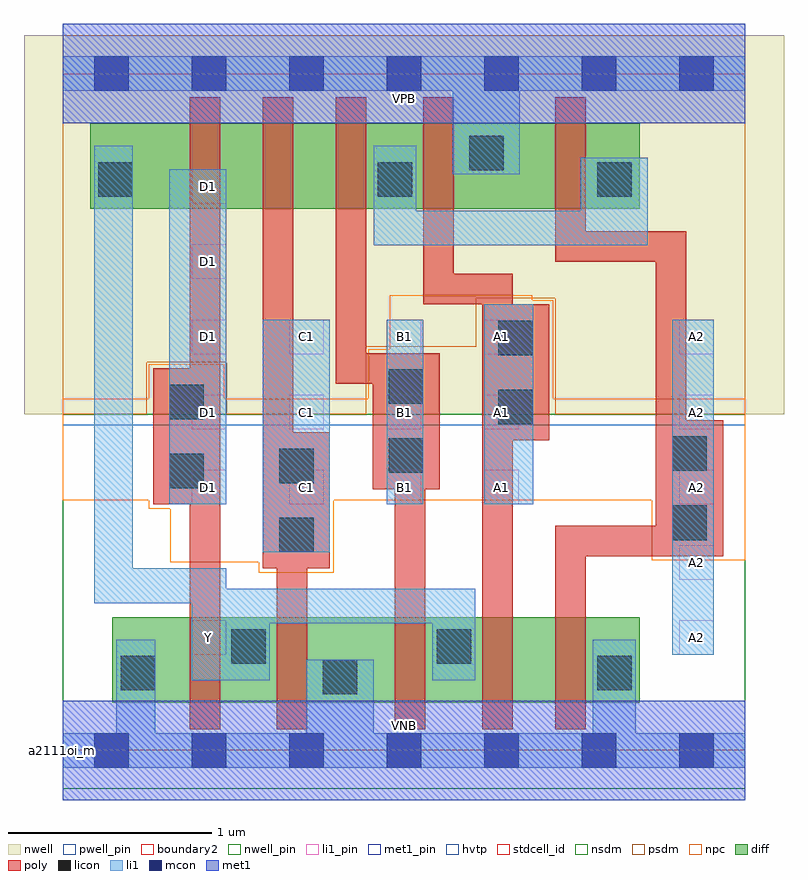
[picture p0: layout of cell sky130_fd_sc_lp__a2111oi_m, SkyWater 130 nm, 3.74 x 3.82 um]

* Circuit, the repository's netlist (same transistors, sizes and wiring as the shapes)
* Copyright 2020 The SkyWater PDK Authors
*
* Licensed under the Apache License, Version 2.0 (the "License");
* you may not use this file except in compliance with the License.
* You may obtain a copy of the License at
*
*     https://www.apache.org/licenses/LICENSE-2.0
*
* Unless required by applicable law or agreed to in writing, software
* distributed under the License is distributed on an "AS IS" BASIS,
* WITHOUT WARRANTIES OR CONDITIONS OF ANY KIND, either express or implied.
* See the License for the specific language governing permissions and
* limitations under the License.
*
* SPDX-License-Identifier: Apache-2.0

.SUBCKT sky130_fd_sc_lp__a2111oi_m A1 A2 B1 C1 D1 VGND VNB VPB VPWR Y
*.PININFO A1:I A2:I B1:I C1:I D1:I VGND:I VNB:I VPB:I VPWR:I Y:O
MMPA0 pndA A1 VPWR VPB sky130_fd_pr__pfet_01v8_hvt m=1 w=0.42U l=0.15U mult=1 sa=0.265
+ sb=0.265 sd=0.28 area=0.063 perim=1.14
MMPA1 pndA A2 VPWR VPB sky130_fd_pr__pfet_01v8_hvt m=1 w=0.42U l=0.15U mult=1 sa=0.265
+ sb=0.265 sd=0.28 area=0.063 perim=1.14
MMPB0 pndB B1 pndA VPB sky130_fd_pr__pfet_01v8_hvt m=1 w=0.42U l=0.15U mult=1 sa=0.265
+ sb=0.265 sd=0.28 area=0.063 perim=1.14
MMPC0 pndC C1 pndB VPB sky130_fd_pr__pfet_01v8_hvt m=1 w=0.42U l=0.15U mult=1 sa=0.265
+ sb=0.265 sd=0.28 area=0.063 perim=1.14
MMPD0 Y D1 pndC VPB sky130_fd_pr__pfet_01v8_hvt m=1 w=0.42U l=0.15U mult=1 sa=0.265
+ sb=0.265 sd=0.28 area=0.063 perim=1.14
MMNA0 Y A1 sndA1 VNB sky130_fd_pr__nfet_01v8 m=1 w=0.42U l=0.15U mult=1 sa=0.265
+ sb=0.265 sd=0.28 area=0.063 perim=1.14
MMNA1 sndA1 A2 VGND VNB sky130_fd_pr__nfet_01v8 m=1 w=0.42U l=0.15U mult=1 sa=0.265
+ sb=0.265 sd=0.28 area=0.063 perim=1.14
MMNB0 Y B1 VGND VNB sky130_fd_pr__nfet_01v8 m=1 w=0.42U l=0.15U mult=1 sa=0.265
+ sb=0.265 sd=0.28 area=0.063 perim=1.14
MMNC0 Y C1 VGND VNB sky130_fd_pr__nfet_01v8 m=1 w=0.42U l=0.15U mult=1 sa=0.265
+ sb=0.265 sd=0.28 area=0.063 perim=1.14
MMND0 Y D1 VGND VNB sky130_fd_pr__nfet_01v8 m=1 w=0.42U l=0.15U mult=1 sa=0.265
+ sb=0.265 sd=0.28 area=0.063 perim=1.14
.ENDS sky130_fd_sc_lp__a2111oi_m

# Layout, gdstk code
import gdstk
lib = gdstk.Library(unit=1e-6, precision=1e-09)
def R(c, l, rs):  # rectangles x0, y0, x1, y1
    for r in rs: c.add(gdstk.rectangle(r[:2], r[2:], *l))
def A(c, l, x, y, w, h, nx, ny, dx, dy):  # array of equal rectangles
    R(c, l, [(x+i*dx, y+j*dy, x+i*dx+w, y+j*dy+h) for i in range(nx) for j in range(ny)])
def P(c, l, *ps):  # polygons
    for p in ps: c.add(gdstk.Polygon(p, *l))
nwell_pin = (64, 16)
nwell = (64, 20)
diff = (65, 20)
poly = (66, 20)
licon = (66, 44)
li1_pin = (67, 16)
li1 = (67, 20)
mcon = (67, 44)
met1_pin = (68, 16)
met1 = (68, 20)
hvtp = (78, 44)
stdcell_id = (81, 4)
nsdm = (93, 44)
psdm = (94, 20)
npc = (95, 20)
pwell_pin = (122, 16)
boundary2 = (236, 0)

sky130_fd_sc_lp__a2111oi = lib.new_cell('sky130_fd_sc_lp__a2111oi_m')
R(sky130_fd_sc_lp__a2111oi, nwell_pin, [(0,3.085,3.36,3.33)])
R(sky130_fd_sc_lp__a2111oi, nwell, [(-0.19,1.655,3.55,3.52)])
R(sky130_fd_sc_lp__a2111oi, diff, [(0.245,0.235,2.84,0.655), (0.135,2.665,2.84,3.085)])
P(sky130_fd_sc_lp__a2111oi, poly, [(0.775,3.215),(0.625,3.215),(0.625,1.88),(0.445,1.88),(0.445,1.21),(0.625,1.21),(0.625,0.105),(0.775,0.105)],
  [(1.315,1.565),(1.135,1.565),(1.135,3.215),(0.985,3.215),(0.985,0.895),(1.055,0.895),(1.055,0.105),(1.205,0.105),(1.205,0.895),(1.315,0.895)],
  [(1.855,1.955),(1.495,1.955),(1.495,3.215),(1.345,3.215),(1.345,1.805),(1.525,1.805),(1.525,1.285),(1.635,1.285),(1.635,0.105),(1.785,0.105),(1.785,1.285),(1.855,1.285)],
  [(2.395,2.195),(2.215,2.195),(2.215,2.345),(1.925,2.345),(1.925,3.215),(1.775,3.215),(1.775,2.195),(2.065,2.195),(2.065,0.105),(2.215,0.105),(2.215,1.525),(2.395,1.525)],
  [(3.25,1.625),(3.07,1.625),(3.07,2.555),(2.575,2.555),(2.575,3.215),(2.425,3.215),(2.425,2.405),(2.92,2.405),(2.92,1.105),(2.425,1.105),(2.425,0.105),(2.575,0.105),(2.575,0.955),(3.25,0.955)])
R(sky130_fd_sc_lp__a2111oi, licon, [(1.28,0.275,1.45,0.445), (0.285,0.295,0.455,0.465), (2.63,0.295,2.8,0.465), (0.83,0.425,1,0.595), (1.84,0.425,2.01,0.595), (1.065,0.975,1.235,1.145), (3,1.035,3.17,1.205), (0.525,1.29,0.695,1.46), (1.065,1.315,1.235,1.485), (1.605,1.365,1.775,1.535), (3,1.375,3.17,1.545), (2.145,1.605,2.315,1.775), (0.525,1.63,0.695,1.8), (1.605,1.705,1.775,1.875), (2.145,1.945,2.315,2.115), (0.175,2.725,0.345,2.895), (1.55,2.725,1.72,2.895), (2.63,2.725,2.8,2.895), (2,2.855,2.17,3.025)])
A(sky130_fd_sc_lp__a2111oi, li1_pin, 3.035, 0.47, 0.17, 0.17, 1, 5, 0, 0.37)
A(sky130_fd_sc_lp__a2111oi, li1_pin, 0.635, 1.21, 0.17, 0.17, 4, 3, 0.48, 0.37)
R(sky130_fd_sc_lp__a2111oi, li1_pin, [(0.635,0.47,0.805,0.64), (0.635,2.32,0.805,2.49), (0.635,2.69,0.805,2.86)])
R(sky130_fd_sc_lp__a2111oi, li1, [(3,0.47,3.205,2.12), (0.985,0.975,1.315,2.12), (0.525,1.21,0.805,2.86), (1.595,1.21,1.775,2.12), (2.075,1.21,2.315,2.195)])
P(sky130_fd_sc_lp__a2111oi, li1, [(1.92,2.835),(1.92,3.245),(0,3.245),(0,3.415),(3.36,3.415),(3.36,3.245),(2.25,3.245),(2.25,2.835)],
  [(2.61,0.085),(2.61,0.545),(2.82,0.545),(2.82,0.085),(3.36,0.085),(3.36,-0.085),(0,-0.085),(0,0.085),(0.265,0.085),(0.265,0.545),(0.455,0.545),(0.455,0.085),(1.2,0.085),(1.2,0.445),(1.53,0.445),(1.53,0.085)],
  [(0.805,0.795),(2.03,0.795),(2.03,0.345),(1.82,0.345),(1.82,0.625),(1.02,0.625),(1.02,0.345),(0.635,0.345),(0.635,0.725),(0.155,0.725),(0.155,2.975),(0.345,2.975),(0.345,0.895),(0.805,0.895)],
  [(2.55,2.655),(2.55,2.915),(2.88,2.915),(2.88,2.485),(1.53,2.485),(1.53,2.975),(1.74,2.975),(1.74,2.655)])
A(sky130_fd_sc_lp__a2111oi, mcon, 0.155, -0.085, 0.17, 0.17, 7, 2, 0.48, 3.33)
R(sky130_fd_sc_lp__a2111oi, met1_pin, [(0,0,3.36,0.245), (0,3.085,3.36,3.33)])
R(sky130_fd_sc_lp__a2111oi, met1, [(0,-0.245,3.36,0.245), (0,3.085,3.36,3.575)])
R(sky130_fd_sc_lp__a2111oi, hvtp, [(0,1.6,3.36,3.33)])
R(sky130_fd_sc_lp__a2111oi, stdcell_id, [(0,0,3.36,3.33)])
R(sky130_fd_sc_lp__a2111oi, nsdm, [(0,-0.19,3.36,1.655)])
P(sky130_fd_sc_lp__a2111oi, psdm, [(3.36,3.52),(0,3.52),(0,1.655),(0.415,1.655),(0.415,1.91),(0.805,1.91),(0.805,1.655),(1.495,1.655),(1.495,1.985),(2.035,1.985),(2.035,2.225),(2.425,2.225),(2.425,1.655),(3.36,1.655)])
P(sky130_fd_sc_lp__a2111oi, npc, [(3.36,1.73),(2.415,1.73),(2.415,2.215),(2.31,2.215),(2.31,2.24),(1.61,2.24),(1.61,1.975),(1.505,1.975),(1.505,1.73),(0.795,1.73),(0.795,1.9),(0.425,1.9),(0.425,1.73),(0,1.73),(0,1.23),(0.425,1.23),(0.425,1.19),(0.53,1.19),(0.53,0.925),(0.965,0.925),(0.965,0.875),(1.335,0.875),(1.335,1.23),(2.9,1.23),(2.9,0.935),(3.36,0.935)])
R(sky130_fd_sc_lp__a2111oi, pwell_pin, [(0,0,3.36,0.245)])
R(sky130_fd_sc_lp__a2111oi, boundary2, [(0,0,3.36,3.33)])
sky130_fd_sc_lp__a2111oi.add(gdstk.Label('VNB', (1.68,0.123), layer=64, texttype=59))
sky130_fd_sc_lp__a2111oi.add(gdstk.Label('VPB', (1.68,3.208), layer=64, texttype=5))
sky130_fd_sc_lp__a2111oi.add(gdstk.Label('a2111oi_m', (0,0), layer=83, texttype=44))
sky130_fd_sc_lp__a2111oi.add(gdstk.Label('VPWR', (1.68,3.208), layer=68, texttype=5))
sky130_fd_sc_lp__a2111oi.add(gdstk.Label('VGND', (1.68,0.123), layer=68, texttype=5))
sky130_fd_sc_lp__a2111oi.add(gdstk.Label('A1', (2.16,1.295), layer=67, texttype=5))
sky130_fd_sc_lp__a2111oi.add(gdstk.Label('A1', (2.16,1.665), layer=67, texttype=5))
sky130_fd_sc_lp__a2111oi.add(gdstk.Label('A1', (2.16,2.035), layer=67, texttype=5))
sky130_fd_sc_lp__a2111oi.add(gdstk.Label('Y', (0.72,0.555), layer=67, texttype=5))
sky130_fd_sc_lp__a2111oi.add(gdstk.Label('A2', (3.12,0.555), layer=67, texttype=5))
sky130_fd_sc_lp__a2111oi.add(gdstk.Label('A2', (3.12,0.925), layer=67, texttype=5))
sky130_fd_sc_lp__a2111oi.add(gdstk.Label('A2', (3.12,1.295), layer=67, texttype=5))
sky130_fd_sc_lp__a2111oi.add(gdstk.Label('A2', (3.12,1.665), layer=67, texttype=5))
sky130_fd_sc_lp__a2111oi.add(gdstk.Label('A2', (3.12,2.035), layer=67, texttype=5))
sky130_fd_sc_lp__a2111oi.add(gdstk.Label('B1', (1.68,1.295), layer=67, texttype=5))
sky130_fd_sc_lp__a2111oi.add(gdstk.Label('B1', (1.68,1.665), layer=67, texttype=5))
sky130_fd_sc_lp__a2111oi.add(gdstk.Label('B1', (1.68,2.035), layer=67, texttype=5))
sky130_fd_sc_lp__a2111oi.add(gdstk.Label('C1', (1.2,1.295), layer=67, texttype=5))
sky130_fd_sc_lp__a2111oi.add(gdstk.Label('C1', (1.2,1.665), layer=67, texttype=5))
sky130_fd_sc_lp__a2111oi.add(gdstk.Label('C1', (1.2,2.035), layer=67, texttype=5))
sky130_fd_sc_lp__a2111oi.add(gdstk.Label('D1', (0.72,1.295), layer=67, texttype=5))
sky130_fd_sc_lp__a2111oi.add(gdstk.Label('D1', (0.72,1.665), layer=67, texttype=5))
sky130_fd_sc_lp__a2111oi.add(gdstk.Label('D1', (0.72,2.035), layer=67, texttype=5))
sky130_fd_sc_lp__a2111oi.add(gdstk.Label('D1', (0.72,2.405), layer=67, texttype=5))
sky130_fd_sc_lp__a2111oi.add(gdstk.Label('D1', (0.72,2.775), layer=67, texttype=5))

lib.write_gds('sky130_fd_sc_lp__a2111oi_m.gds')
